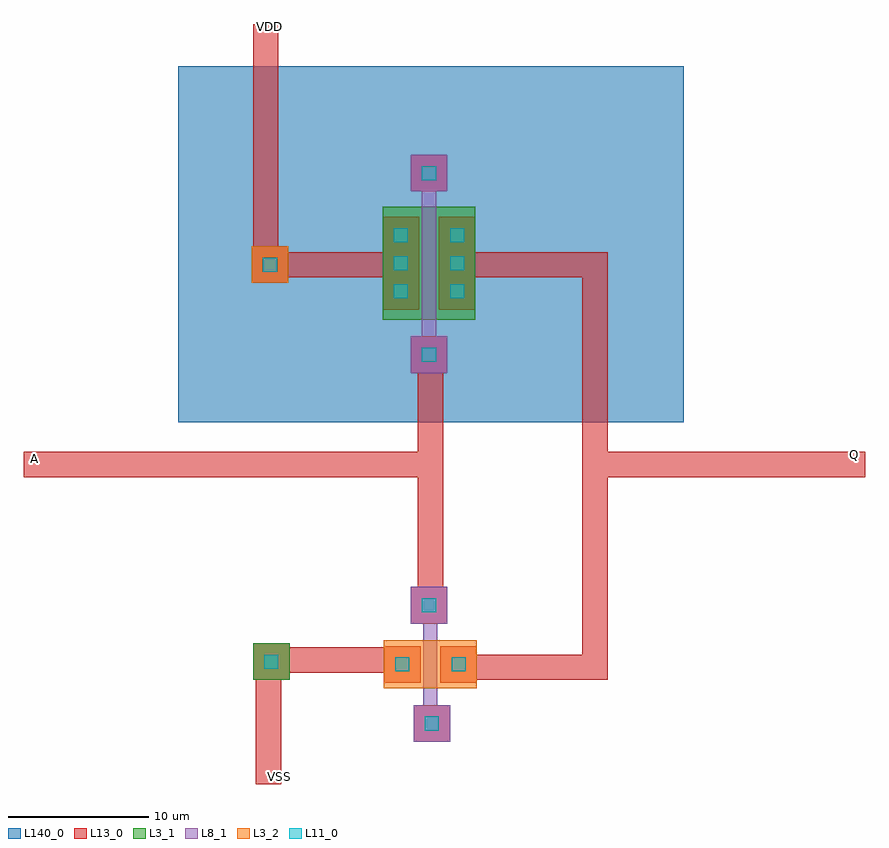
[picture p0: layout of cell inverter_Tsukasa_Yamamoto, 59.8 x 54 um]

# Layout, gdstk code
from math import pi, radians
import gdstk
lib = gdstk.Library(unit=1e-6, precision=1e-07)
def R(c, l, rs):  # rectangles x0, y0, x1, y1
    for r in rs: c.add(gdstk.rectangle(r[:2], r[2:], *l))
def A(c, l, x, y, w, h, nx, ny, dx, dy):  # array of equal rectangles
    R(c, l, [(x+i*dx, y+j*dy, x+i*dx+w, y+j*dy+h) for i in range(nx) for j in range(ny)])
def P(c, l, *ps):  # polygons
    for p in ps: c.add(gdstk.Polygon(p, *l))
L3_1 = (3, 1)
L3_2 = (3, 2)
L8_1 = (8, 1)
L11_0 = (11, 0)
L13_0 = (13, 0)
L140_0 = (140, 0)

cont_g = lib.new_cell('cont_g')
R(cont_g, L8_1, [(-1.3,-1.3,1.3,1.3)])
R(cont_g, L11_0, [(-0.5,-0.5,0.5,0.5)])
R(cont_g, L13_0, [(-1.3,-1.3,1.3,1.3)])

fet_p = lib.new_cell('fet_p')
R(fet_p, L3_1, [(-3.3,-4,3.3,4)])
A(fet_p, L11_0, -2.5, -2.5, 1, 1, 1, 3, 0, 2)
A(fet_p, L11_0, 1.5, -2.5, 1, 1, 1, 3, 0, 2)
R(fet_p, L13_0, [(-3.3,-3.3,-0.7,3.3), (0.7,-3.3,3.3,3.3)])
fet_p.add(gdstk.FlexPath([(0,-5.2),(0,5.2)], 1, ends="flush", simple_path=True, layer=8, datatype=1))  # L8_1

fet_n = lib.new_cell('fet_n')
R(fet_n, L3_2, [(-3.3,-1.7,3.3,1.7)])
R(fet_n, L11_0, [(-2.5,-0.5,-1.5,0.5), (1.5,-0.5,2.5,0.5)])
R(fet_n, L13_0, [(-3.3,-1.3,-0.7,1.3), (0.7,-1.3,3.3,1.3)])
fet_n.add(gdstk.FlexPath([(0,-2.9),(0,2.9)], 1, ends="flush", simple_path=True, layer=8, datatype=1))  # L8_1

cont_n = lib.new_cell('cont_n')
R(cont_n, L3_2, [(-1.3,-1.3,1.3,1.3)])
R(cont_n, L11_0, [(-0.5,-0.5,0.5,0.5)])
R(cont_n, L13_0, [(-1.3,-1.3,1.3,1.3)])

cont_p = lib.new_cell('cont_p')
R(cont_p, L3_1, [(-1.3,-1.3,1.3,1.3)])
R(cont_p, L11_0, [(-0.5,-0.5,0.5,0.5)])
R(cont_p, L13_0, [(-1.3,-1.3,1.3,1.3)])

inverter_tsukasa_yamamot = lib.new_cell('inverter_Tsukasa_Yamamoto')
P(inverter_tsukasa_yamamot, L140_0, [(-16.6,4.5),(-16.6,15.9),(-16.6,29.8),(19.3,29.8),(19.3,4.5)])
inverter_tsukasa_yamamot.add(gdstk.FlexPath([(-10.4,32.8),(-10.4,15.7),(0.3,15.7),(0.3,15.7)], 1.8, ends="flush", simple_path=True, layer=13, datatype=0))  # L13_0
inverter_tsukasa_yamamot.add(gdstk.FlexPath([(1.3,-9),(1.3,9.9)], 1.8, ends="flush", simple_path=True, layer=13, datatype=0))  # L13_0
inverter_tsukasa_yamamot.add(gdstk.FlexPath([(1.6,1.5),(-27.6,1.5)], 1.8, ends="flush", simple_path=True, layer=13, datatype=0))  # L13_0
inverter_tsukasa_yamamot.add(gdstk.FlexPath([(0.1,-12.4),(-10.2,-12.4),(-10.2,-21.2)], 1.8, ends="flush", simple_path=True, layer=13, datatype=0))  # L13_0
inverter_tsukasa_yamamot.add(gdstk.FlexPath([(2.4,15.7),(13,15.7),(13,-12.9),(2.3,-12.9)], 1.8, ends="flush", simple_path=True, layer=13, datatype=0))  # L13_0
inverter_tsukasa_yamamot.add(gdstk.FlexPath([(12.4,1.5),(32.2,1.5),(32.2,1.5),(32.2,1.5)], 1.8, ends="flush", simple_path=True, layer=13, datatype=0))  # L13_0
inverter_tsukasa_yamamot.add(gdstk.Reference(cont_g, (1.2,9.3), rotation=pi))
inverter_tsukasa_yamamot.add(gdstk.Reference(fet_p, (1.2,15.8), rotation=pi))
inverter_tsukasa_yamamot.add(gdstk.Reference(cont_g, (1.2,22.2), rotation=pi))
inverter_tsukasa_yamamot.add(gdstk.Reference(fet_n, (1.3,-12.7), rotation=pi))
inverter_tsukasa_yamamot.add(gdstk.Reference(cont_g, (1.2,-8.5), rotation=pi))
inverter_tsukasa_yamamot.add(gdstk.Reference(cont_g, (1.4,-16.9), rotation=pi))
inverter_tsukasa_yamamot.add(gdstk.Reference(cont_n, (-10.1,15.7), rotation=pi))
inverter_tsukasa_yamamot.add(gdstk.Reference(cont_p, (-10,-12.5), rotation=pi))
inverter_tsukasa_yamamot.add(gdstk.Label('Q', (31.4,2.2), layer=13, texttype=0))
inverter_tsukasa_yamamot.add(gdstk.Label('A', (-26.8,1.9), layer=13, texttype=0))
inverter_tsukasa_yamamot.add(gdstk.Label('VSS', (-9.4,-20.7), layer=13, texttype=0))
inverter_tsukasa_yamamot.add(gdstk.Label('VDD', (-10.1,32.6), layer=48, texttype=0))

lib.write_gds('inverter_Tsukasa_Yamamoto.gds')
